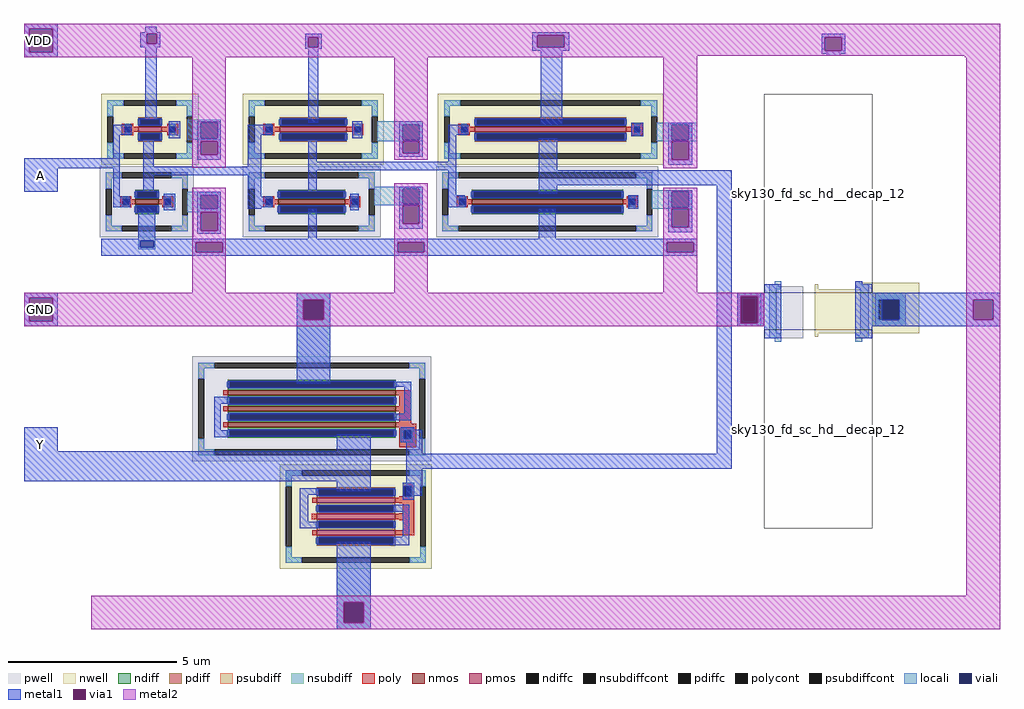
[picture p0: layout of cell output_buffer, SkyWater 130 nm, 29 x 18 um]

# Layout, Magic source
magic
tech sky130A
magscale 1 2
<< nwell >>
rect 3940 -2340 3980 -2330
rect 3700 -2380 3720 -2350
rect 3940 -2370 4320 -2340
rect 3970 -2380 4320 -2370
rect 3700 -2640 4320 -2380
rect 3700 -2660 3720 -2640
rect 3970 -2650 4010 -2640
rect 3940 -2670 4010 -2650
rect 3940 -2690 3980 -2670
<< pwell >>
rect 3240 -2600 3400 -2400
rect 3470 -2670 3630 -2360
<< psubdiff >>
rect 3240 -2440 3380 -2400
rect 3240 -2560 3280 -2440
rect 3340 -2560 3380 -2440
rect 3240 -2600 3380 -2560
<< nsubdiff >>
rect 4040 -2440 4240 -2400
rect 4040 -2560 4080 -2440
rect 4200 -2560 4240 -2440
rect 4040 -2600 4240 -2560
<< psubdiffcont >>
rect 3280 -2560 3340 -2440
<< nsubdiffcont >>
rect 4080 -2560 4200 -2440
<< locali >>
rect -30 -1390 170 -1370
rect -30 -1480 50 -1390
rect 150 -1480 170 -1390
rect -30 -1490 170 -1480
rect 1100 -1400 1370 -1380
rect 1100 -1490 1250 -1400
rect 1350 -1490 1370 -1400
rect 1100 -1500 1370 -1490
rect 2760 -1400 3000 -1390
rect 2760 -1490 2850 -1400
rect 2950 -1490 3000 -1400
rect 2760 -1500 3000 -1490
rect 1080 -1780 1370 -1770
rect -30 -1820 170 -1800
rect -30 -1900 50 -1820
rect 150 -1900 170 -1820
rect 1080 -1870 1250 -1780
rect 1350 -1870 1370 -1780
rect 1080 -1880 1370 -1870
rect 2730 -1800 2970 -1790
rect 2730 -1890 2850 -1800
rect 2950 -1890 2970 -1800
rect 2730 -1900 2970 -1890
rect -30 -1920 170 -1900
rect -320 -2090 -220 -2000
rect -320 -2130 -310 -2090
rect -230 -2130 -220 -2090
rect -320 -2140 -220 -2130
rect 3460 -2350 3500 -2330
rect 3430 -2380 3500 -2350
rect 3940 -2350 3980 -2330
rect 3940 -2370 4020 -2350
rect 620 -2440 820 -2400
rect 620 -2560 660 -2440
rect 780 -2560 820 -2440
rect 620 -2840 820 -2560
rect 3240 -2420 3380 -2400
rect 3240 -2580 3260 -2420
rect 3360 -2580 3380 -2420
rect 3240 -2600 3380 -2580
rect 3430 -2640 3470 -2380
rect 3430 -2670 3500 -2640
rect 3970 -2650 4020 -2370
rect 4060 -2440 4240 -2400
rect 4060 -2560 4080 -2440
rect 4200 -2560 4240 -2440
rect 4060 -2600 4240 -2560
rect 3460 -2690 3500 -2670
rect 3940 -2670 4020 -2650
rect 3940 -2690 3980 -2670
rect 860 -4240 1060 -3980
rect 860 -4360 900 -4240
rect 1020 -4360 1060 -4240
rect 860 -4400 1060 -4360
<< viali >>
rect 50 -1480 150 -1390
rect 1250 -1490 1350 -1400
rect 2850 -1490 2950 -1400
rect 50 -1900 150 -1820
rect 1250 -1870 1350 -1780
rect 2850 -1890 2950 -1800
rect -310 -2130 -230 -2090
rect 660 -2560 780 -2440
rect 3260 -2440 3360 -2420
rect 3260 -2560 3280 -2440
rect 3280 -2560 3340 -2440
rect 3340 -2560 3360 -2440
rect 3260 -2580 3360 -2560
rect 4100 -2560 4200 -2440
rect 900 -4360 1020 -4240
<< metal1 >>
rect -1000 -830 -800 -800
rect -1000 -970 -970 -830
rect -830 -970 -800 -830
rect -280 -850 -210 -820
rect -310 -860 -190 -850
rect -310 -920 -270 -860
rect -210 -920 -190 -860
rect -310 -940 -190 -920
rect 670 -880 770 -860
rect 670 -940 690 -880
rect 750 -940 770 -880
rect -1000 -1000 -800 -970
rect -280 -1370 -210 -940
rect 670 -950 770 -940
rect 2020 -870 2240 -850
rect 2020 -940 2050 -870
rect 2210 -940 2240 -870
rect -470 -1460 -360 -1400
rect -470 -1600 -430 -1460
rect -140 -1480 -70 -1380
rect 30 -1390 170 -1380
rect 690 -1390 750 -950
rect 2020 -960 2240 -940
rect 3740 -880 3880 -860
rect 3740 -960 3760 -880
rect 3860 -960 3880 -880
rect 30 -1480 50 -1390
rect 150 -1480 170 -1390
rect -1000 -1660 -430 -1600
rect -1000 -1800 -800 -1660
rect -470 -1830 -430 -1660
rect -290 -1650 -230 -1490
rect 30 -1500 170 -1480
rect 30 -1580 50 -1500
rect 150 -1580 170 -1500
rect 30 -1610 170 -1580
rect 330 -1460 470 -1400
rect 330 -1650 410 -1460
rect 950 -1480 1010 -1380
rect 1230 -1400 1370 -1380
rect 2070 -1400 2200 -960
rect 3740 -980 3880 -960
rect 3770 -990 3850 -980
rect 1230 -1490 1250 -1400
rect 1350 -1490 1370 -1400
rect -290 -1700 410 -1650
rect -290 -1800 -230 -1700
rect -470 -1890 -370 -1830
rect -320 -2080 -220 -1890
rect -170 -1910 -100 -1810
rect 30 -1820 170 -1800
rect 30 -1900 50 -1820
rect 150 -1900 170 -1820
rect 330 -1830 410 -1700
rect 690 -1620 740 -1490
rect 1230 -1500 1370 -1490
rect 1230 -1570 1250 -1500
rect 1350 -1570 1370 -1500
rect 1230 -1590 1370 -1570
rect 1520 -1460 1640 -1400
rect 1520 -1620 1570 -1460
rect 2610 -1470 2680 -1390
rect 2830 -1400 2970 -1390
rect 690 -1670 1570 -1620
rect 690 -1800 740 -1670
rect 1230 -1780 1370 -1770
rect 330 -1890 470 -1830
rect 330 -1900 410 -1890
rect 30 -1920 170 -1900
rect 30 -2030 50 -1920
rect 150 -2030 170 -1920
rect 30 -2050 170 -2030
rect 690 -2080 740 -1900
rect 940 -1910 990 -1810
rect 1230 -1870 1250 -1780
rect 1350 -1870 1370 -1780
rect 1230 -1880 1370 -1870
rect 1230 -1990 1250 -1880
rect 1350 -1990 1370 -1880
rect 1520 -1820 1570 -1670
rect 2060 -1670 2170 -1480
rect 2830 -1490 2850 -1400
rect 2950 -1490 2970 -1400
rect 2830 -1500 2970 -1490
rect 2830 -1610 2850 -1500
rect 2950 -1610 2970 -1500
rect 2830 -1640 2970 -1610
rect 2060 -1760 3205 -1670
rect 2060 -1810 2170 -1760
rect 2830 -1800 2970 -1790
rect 1520 -1890 1620 -1820
rect 2590 -1900 2650 -1820
rect 2830 -1890 2850 -1800
rect 2950 -1890 2970 -1800
rect 2830 -1900 2970 -1890
rect 1230 -2020 1370 -1990
rect 2060 -2080 2160 -1900
rect 2830 -2010 2850 -1900
rect 2950 -2010 2970 -1900
rect 2830 -2040 2970 -2010
rect -540 -2090 3000 -2080
rect -540 -2130 -310 -2090
rect -230 -2100 3000 -2090
rect -230 -2130 20 -2100
rect -540 -2160 20 -2130
rect 180 -2160 1220 -2100
rect 1380 -2160 2820 -2100
rect 2980 -2160 3000 -2100
rect -540 -2180 3000 -2160
rect -1000 -2430 -800 -2400
rect -1000 -2570 -970 -2430
rect -830 -2570 -800 -2430
rect -1000 -2600 -800 -2570
rect 620 -2440 820 -2400
rect 620 -2560 660 -2440
rect 780 -2560 820 -2440
rect 620 -2940 820 -2560
rect -1000 -3340 -800 -3200
rect 860 -3340 1060 -3240
rect -1000 -3520 1060 -3340
rect 860 -3580 1060 -3520
rect 1273 -3355 1367 -3213
rect 3116 -3355 3205 -1760
rect 3940 -2350 3980 -2330
rect 3400 -2400 3500 -2350
rect 3240 -2420 3500 -2400
rect 3240 -2580 3260 -2420
rect 3360 -2580 3500 -2420
rect 3240 -2600 3500 -2580
rect 3400 -2670 3500 -2600
rect 3940 -2400 4040 -2350
rect 3940 -2440 4800 -2400
rect 3940 -2560 4100 -2440
rect 4200 -2560 4640 -2440
rect 4760 -2560 4800 -2440
rect 3940 -2600 4800 -2560
rect 3940 -2670 4040 -2600
rect 1273 -3444 3205 -3355
rect 1273 -3607 1367 -3444
rect 860 -4240 1060 -3880
rect 860 -4360 900 -4240
rect 1020 -4360 1060 -4240
rect 860 -4400 1060 -4360
<< via1 >>
rect -970 -970 -830 -830
rect -270 -920 -210 -860
rect 690 -940 750 -880
rect 2050 -940 2210 -870
rect 3760 -960 3860 -880
rect 50 -1580 150 -1500
rect 1250 -1570 1350 -1500
rect 50 -2030 150 -1920
rect 1250 -1990 1350 -1880
rect 2850 -1610 2950 -1500
rect 2850 -2010 2950 -1900
rect 20 -2160 180 -2100
rect 1220 -2160 1380 -2100
rect 2820 -2160 2980 -2100
rect -970 -2570 -830 -2430
rect 660 -2560 780 -2440
rect 3260 -2580 3360 -2420
rect 4640 -2560 4760 -2440
rect 900 -4360 1020 -4240
<< metal2 >>
rect -1000 -830 4800 -800
rect -1000 -970 -970 -830
rect -830 -860 4800 -830
rect -830 -920 -270 -860
rect -210 -870 4800 -860
rect -210 -880 2050 -870
rect -210 -920 690 -880
rect -830 -940 690 -920
rect 750 -940 2050 -880
rect 2210 -880 4800 -870
rect 2210 -940 3760 -880
rect -830 -960 3760 -940
rect 3860 -960 4800 -880
rect -830 -970 4800 -960
rect -1000 -990 4800 -970
rect -1000 -1000 3000 -990
rect 4590 -1000 4800 -990
rect 0 -1500 200 -1000
rect 0 -1580 50 -1500
rect 150 -1580 200 -1500
rect 0 -1658 200 -1580
rect 1200 -1500 1400 -1000
rect 1200 -1570 1250 -1500
rect 1350 -1570 1400 -1500
rect 1200 -1610 1400 -1570
rect 2800 -1500 3000 -1000
rect 2800 -1610 2850 -1500
rect 2950 -1610 3000 -1500
rect 2800 -1660 3000 -1610
rect 0 -1920 200 -1774
rect 0 -2030 50 -1920
rect 150 -2030 200 -1920
rect 0 -2100 200 -2030
rect 0 -2160 20 -2100
rect 180 -2160 200 -2100
rect 0 -2400 200 -2160
rect 1200 -1880 1400 -1748
rect 1200 -1990 1250 -1880
rect 1350 -1990 1400 -1880
rect 1200 -2100 1400 -1990
rect 1200 -2160 1220 -2100
rect 1380 -2160 1400 -2100
rect 1200 -2400 1400 -2160
rect 2800 -1900 3000 -1776
rect 2800 -2010 2850 -1900
rect 2950 -2010 3000 -1900
rect 2800 -2100 3000 -2010
rect 2800 -2160 2820 -2100
rect 2980 -2160 3000 -2100
rect 2800 -2400 3000 -2160
rect -1000 -2420 3400 -2400
rect -1000 -2430 3260 -2420
rect -1000 -2570 -970 -2430
rect -830 -2440 3260 -2430
rect -830 -2560 660 -2440
rect 780 -2560 3260 -2440
rect -830 -2570 3260 -2560
rect -1000 -2580 3260 -2570
rect 3360 -2580 3400 -2420
rect -1000 -2600 3400 -2580
rect 4600 -2440 4800 -1000
rect 4600 -2560 4640 -2440
rect 4760 -2560 4800 -2440
rect 4600 -4200 4800 -2560
rect -600 -4240 4800 -4200
rect -600 -4360 900 -4240
rect 1020 -4360 4800 -4240
rect -600 -4400 4800 -4360
use sky130_fd_sc_hd__decap_12  sky130_fd_sc_hd__decap_12_0 $PDKPATH/libs.ref/sky130_fd_sc_hd/mag
transform 0 1 3448 -1 0 -1258
box -38 -48 1142 592
use sky130_fd_sc_hd__decap_12  sky130_fd_sc_hd__decap_12_1
transform 0 1 3448 -1 0 -2658
box -38 -48 1142 592
use sky130_fd_pr__nfet_01v8_EUVAEG  XM25
transform 0 -1 710 1 0 -3089
box -311 -710 311 710
use sky130_fd_pr__pfet_01v8_FRYS2W  XM26
transform 0 -1 972 1 0 -3729
box -311 -452 311 452
use sky130_fd_pr__nfet_01v8_24CRNP  XM31
transform 0 1 -270 -1 0 -1859
box -211 -280 211 280
use sky130_fd_pr__pfet_01v8_DJSDVV  XM32
transform 0 1 -251 -1 0 -1429
box -211 -289 211 289
use sky130_fd_pr__nfet_01v8_NK2ZG9  XM33
transform 0 1 710 -1 0 -1859
box -211 -410 211 410
use sky130_fd_pr__pfet_01v8_VJT448  XM34
transform 0 1 719 -1 0 -1429
box -211 -419 211 419
use sky130_fd_pr__nfet_01v8_JPVZFC  XM35
transform 0 1 2110 -1 0 -1859
box -211 -660 211 660
use sky130_fd_pr__pfet_01v8_YNF6CZ  XM36
transform 0 1 2129 -1 0 -1429
box -211 -669 211 669
<< labels >>
flabel metal1 -1000 -2600 -800 -2400 0 FreeSans 1600 0 0 0 GND
port 3 nsew
flabel metal1 -1000 -1800 -800 -1600 0 FreeSans 1600 0 0 0 A
port 1 nsew
flabel metal1 -1000 -3400 -800 -3200 0 FreeSans 1600 0 0 0 Y
port 0 nsew
flabel metal1 -1000 -1000 -830 -800 0 FreeSans 1600 0 0 0 VDD
port 2 nsew
<< end >>

# cell sky130_fd_pr__nfet_01v8_EUVAEG: kit device sky130_fd_pr__nfet_01v8, w 5.0 l 0.15 m 1 nf 3 diffcov 100 polycov 100 guard 1 glc 1 grc 1 gtc 1 gbc 1 tbcov 100 rlcov 100 topc 1 botc 1 poverlap 0 doverlap 1 lmin 0.15 wmin 0.42 class mosfet compatible {sky130_fd_pr__nfet_01v8 sky130_fd_pr__nfet_01v8_lvt sky130_fd_bs_flash__special_sonosfet_star sky130_fd_pr__nfet_g5v0d10v5 sky130_fd_pr__nfet_05v0_nvt sky130_fd_pr__nfet_03v3_nvt} full_metal 1 conn_gates 0 viasrc 100 viadrn 100 viagate 100 viagb 0 viagr 0 viagl 0 viagt 0 doports 1

# cell sky130_fd_pr__pfet_01v8_FRYS2W: kit device sky130_fd_pr__pfet_01v8, w 2.3333333333333335 l 0.15 m 1 nf 3 diffcov 100 polycov 100 guard 1 glc 1 grc 1 gtc 1 gbc 1 tbcov 100 rlcov 100 topc 1 botc 1 poverlap 0 doverlap 1 lmin 0.15 wmin 0.42 class mosfet compatible {sky130_fd_pr__pfet_01v8 sky130_fd_pr__pfet_01v8_lvt sky130_fd_pr__pfet_01v8_hvt sky130_fd_pr__pfet_g5v0d10v5} full_metal 1 conn_gates 0 viasrc 100 viadrn 100 viagate 100 viagb 0 viagr 0 viagl 0 viagt 0 doports 1

# cell sky130_fd_pr__nfet_01v8_24CRNP: kit device sky130_fd_pr__nfet_01v8, w 0.7 l 0.15 m 1 nf 1 diffcov 100 polycov 100 guard 1 glc 1 grc 1 gtc 1 gbc 1 tbcov 100 rlcov 100 topc 1 botc 1 poverlap 0 doverlap 1 lmin 0.15 wmin 0.42 class mosfet compatible {sky130_fd_pr__nfet_01v8 sky130_fd_pr__nfet_01v8_lvt sky130_fd_bs_flash__special_sonosfet_star sky130_fd_pr__nfet_g5v0d10v5 sky130_fd_pr__nfet_05v0_nvt sky130_fd_pr__nfet_03v3_nvt} full_metal 1 conn_gates 0 viasrc 100 viadrn 100 viagate 100 viagb 0 viagr 0 viagl 0 viagt 0 doports 1

# cell sky130_fd_pr__pfet_01v8_DJSDVV: kit device sky130_fd_pr__pfet_01v8, w 0.7 l 0.15 m 1 nf 1 diffcov 100 polycov 100 guard 1 glc 1 grc 1 gtc 1 gbc 1 tbcov 100 rlcov 100 topc 1 botc 1 poverlap 0 doverlap 1 lmin 0.15 wmin 0.42 class mosfet compatible {sky130_fd_pr__pfet_01v8 sky130_fd_pr__pfet_01v8_lvt sky130_fd_pr__pfet_01v8_hvt sky130_fd_pr__pfet_g5v0d10v5} full_metal 1 conn_gates 0 viasrc 100 viadrn 100 viagate 100 viagb 0 viagr 0 viagl 0 viagt 0 doports 1

# cell sky130_fd_pr__nfet_01v8_NK2ZG9: kit device sky130_fd_pr__nfet_01v8, w 2.0 l 0.15 m 1 nf 1 diffcov 100 polycov 100 guard 1 glc 1 grc 1 gtc 1 gbc 1 tbcov 100 rlcov 100 topc 1 botc 1 poverlap 0 doverlap 1 lmin 0.15 wmin 0.42 class mosfet compatible {sky130_fd_pr__nfet_01v8 sky130_fd_pr__nfet_01v8_lvt sky130_fd_bs_flash__special_sonosfet_star sky130_fd_pr__nfet_g5v0d10v5 sky130_fd_pr__nfet_05v0_nvt sky130_fd_pr__nfet_03v3_nvt} full_metal 1 conn_gates 0 viasrc 100 viadrn 100 viagate 100 viagb 0 viagr 0 viagl 0 viagt 0 doports 1

# cell sky130_fd_pr__pfet_01v8_VJT448: kit device sky130_fd_pr__pfet_01v8, w 2.0 l 0.15 m 1 nf 1 diffcov 100 polycov 100 guard 1 glc 1 grc 1 gtc 1 gbc 1 tbcov 100 rlcov 100 topc 1 botc 1 poverlap 0 doverlap 1 lmin 0.15 wmin 0.42 class mosfet compatible {sky130_fd_pr__pfet_01v8 sky130_fd_pr__pfet_01v8_lvt sky130_fd_pr__pfet_01v8_hvt sky130_fd_pr__pfet_g5v0d10v5} full_metal 1 conn_gates 0 viasrc 100 viadrn 100 viagate 100 viagb 0 viagr 0 viagl 0 viagt 0 doports 1

# cell sky130_fd_pr__nfet_01v8_JPVZFC: kit device sky130_fd_pr__nfet_01v8, w 4.5 l 0.15 m 1 nf 1 diffcov 100 polycov 100 guard 1 glc 1 grc 1 gtc 1 gbc 1 tbcov 100 rlcov 100 topc 1 botc 1 poverlap 0 doverlap 1 lmin 0.15 wmin 0.42 class mosfet compatible {sky130_fd_pr__nfet_01v8 sky130_fd_pr__nfet_01v8_lvt sky130_fd_bs_flash__special_sonosfet_star sky130_fd_pr__nfet_g5v0d10v5 sky130_fd_pr__nfet_05v0_nvt sky130_fd_pr__nfet_03v3_nvt} full_metal 1 conn_gates 0 viasrc 100 viadrn 100 viagate 100 viagb 0 viagr 0 viagl 0 viagt 0 doports 1

# cell sky130_fd_pr__pfet_01v8_YNF6CZ: kit device sky130_fd_pr__pfet_01v8, w 4.5 l 0.15 m 1 nf 1 diffcov 100 polycov 100 guard 1 glc 1 grc 1 gtc 1 gbc 1 tbcov 100 rlcov 100 topc 1 botc 1 poverlap 0 doverlap 1 lmin 0.15 wmin 0.42 class mosfet compatible {sky130_fd_pr__pfet_01v8 sky130_fd_pr__pfet_01v8_lvt sky130_fd_pr__pfet_01v8_hvt sky130_fd_pr__pfet_g5v0d10v5} full_metal 1 conn_gates 0 viasrc 100 viadrn 100 viagate 100 viagb 0 viagr 0 viagl 0 viagt 0 doports 1
